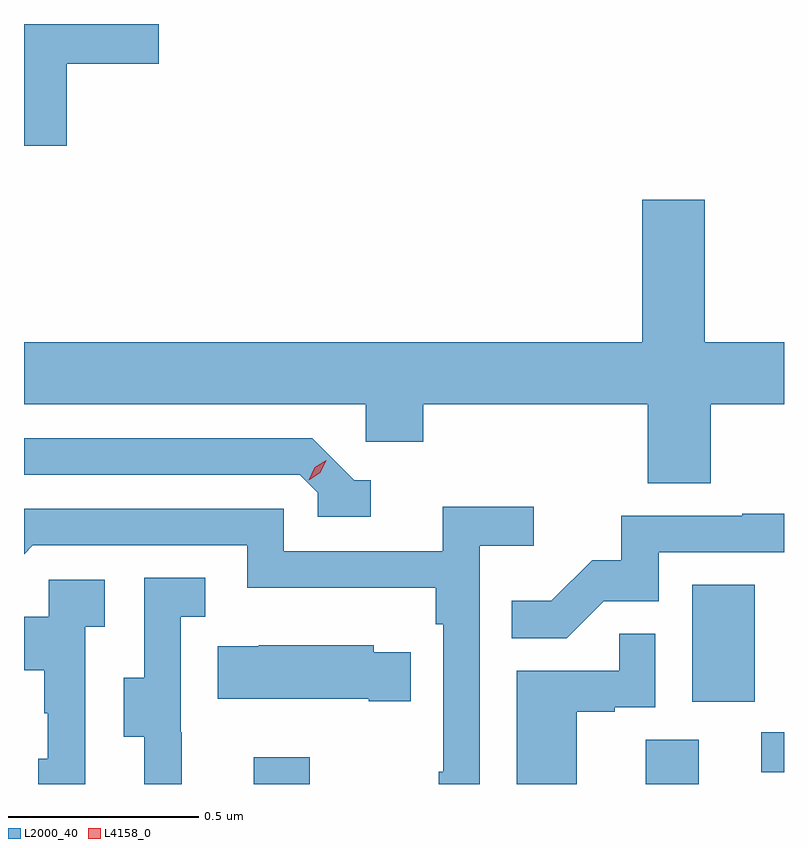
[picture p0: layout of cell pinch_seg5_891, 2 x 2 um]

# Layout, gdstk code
import gdstk
lib = gdstk.Library(unit=1e-6, precision=1e-09)
def R(c, l, rs):  # rectangles x0, y0, x1, y1
    for r in rs: c.add(gdstk.rectangle(r[:2], r[2:], *l))
def P(c, l, *ps):  # polygons
    for p in ps: c.add(gdstk.Polygon(p, *l))
L2000_40 = (2000, 40)
L4158_0 = (4158, 0)

pinch_seg5_891 = lib.new_cell('pinch_seg5_891')
R(pinch_seg5_891, L2000_40, [(835.313,881.069,835.461,881.14), (836.345,881.069,836.485,881.186), (836.649,881.1,836.709,881.205), (836.468,881.286,836.632,881.593)])
P(pinch_seg5_891, L2000_40, [(834.821,882.965),(835.063,882.965),(835.063,883.069),(834.709,883.069),(834.709,882.748),(834.821,882.748)],
  [(836.516,882.068),(836.709,882.068),(836.709,882.232),(836.5,882.232),(836.5,882.607),(836.336,882.607),(836.336,882.232),(834.709,882.232),(834.709,882.068),(835.608,882.068),(835.608,881.97),(835.76,881.97),(835.76,882.068),(836.351,882.068),(836.351,881.86),(836.516,881.86)],
  [(835.621,881.868),(835.578,881.868),(835.467,881.979),(834.709,881.979),(834.709,881.883),(835.434,881.883),(835.482,881.835),(835.482,881.772),(835.621,881.772)],
  [(835.908,881.696),(836.05,881.696),(836.05,881.798),(835.811,881.798),(835.811,881.682),(835.392,881.682),(835.392,881.793),(834.709,881.793),(834.709,881.674),(834.732,881.697),(835.296,881.697),(835.296,881.585),(835.792,881.585),(835.792,881.489),(835.812,881.489),(835.812,881.101),(835.8,881.101),(835.8,881.069),(835.908,881.069)],
  [(836.235,881.55),(836.379,881.55),(836.379,881.679),(836.709,881.679),(836.709,881.78),(836.599,881.78),(836.599,881.775),(836.281,881.775),(836.281,881.658),(836.204,881.658),(836.097,881.551),(835.993,881.551),(835.993,881.452),(836.137,881.452)],
  [(835.124,881.205),(835.122,881.205),(835.122,881.509),(835.186,881.509),(835.186,881.612),(835.026,881.612),(835.026,881.349),(834.971,881.349),(834.971,881.194),(835.025,881.194),(835.025,881.069),(835.124,881.069)],
  [(834.87,881.483),(834.922,881.483),(834.922,881.607),(834.774,881.607),(834.774,881.509),(834.709,881.509),(834.709,881.369),(834.762,881.369),(834.762,881.255),(834.772,881.255),(834.772,881.136),(834.746,881.136),(834.746,881.069),(834.87,881.069)],
  [(836.164,881.259),(836.264,881.259),(836.264,881.271),(836.37,881.271),(836.37,881.465),(836.275,881.465),(836.275,881.367),(836.006,881.367),(836.006,881.069),(836.164,881.069)],
  [(835.727,881.416),(835.629,881.416),(835.629,881.434),(835.327,881.434),(835.327,881.431),(835.219,881.431),(835.219,881.294),(835.616,881.294),(835.616,881.287),(835.727,881.287)])
P(pinch_seg5_891, L4158_0, [(835.458,881.869),(835.458,881.869),(835.474,881.902),(835.505,881.921),(835.505,881.921),(835.505,881.921),(835.489,881.888),(835.458,881.869)])

lib.write_gds('pinch_seg5_891.gds')
